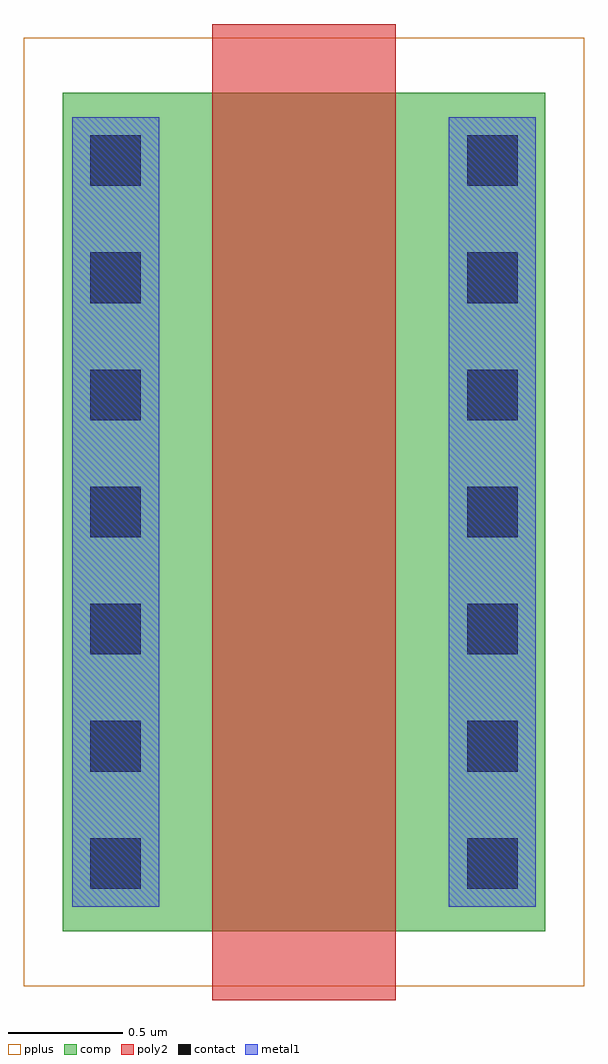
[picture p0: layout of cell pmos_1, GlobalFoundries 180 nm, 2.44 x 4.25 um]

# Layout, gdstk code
import gdstk
lib = gdstk.Library(unit=1e-6, precision=5e-09)
def R(c, l, rs):  # rectangles x0, y0, x1, y1
    for r in rs: c.add(gdstk.rectangle(r[:2], r[2:], *l))
def A(c, l, x, y, w, h, nx, ny, dx, dy):  # array of equal rectangles
    R(c, l, [(x+i*dx, y+j*dy, x+i*dx+w, y+j*dy+h) for i in range(nx) for j in range(ny)])
comp = (22, 0)
poly2 = (30, 0)
pplus = (31, 0)
contact = (33, 0)
metal1 = (34, 0)

pmos_1 = lib.new_cell('pmos_1')
R(pmos_1, comp, [(0.17,0.3,0.63,3.95), (0.63,0.3,1.81,3.95), (1.81,0.3,2.27,3.95)])
R(pmos_1, poly2, [(0.82,0,1.62,4.25)])
R(pmos_1, pplus, [(0,0.06,2.44,4.19)])
A(pmos_1, contact, 0.29, 0.485, 0.22, 0.22, 1, 7, 0, 0.51)
A(pmos_1, contact, 1.93, 0.485, 0.22, 0.22, 1, 7, 0, 0.51)
R(pmos_1, metal1, [(0.21,0.405,0.59,3.845), (1.85,0.405,2.23,3.845)])

lib.write_gds('pmos_1.gds')
